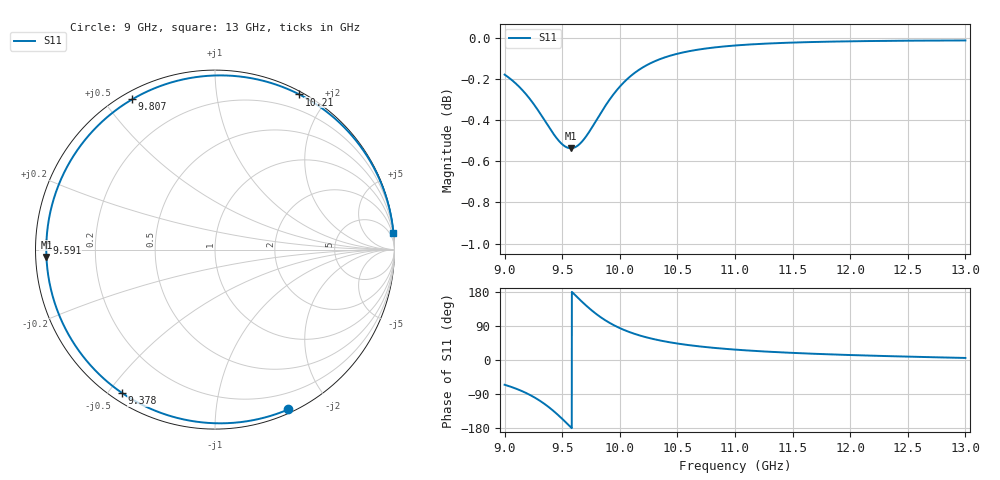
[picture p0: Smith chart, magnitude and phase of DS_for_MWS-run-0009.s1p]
! TOUCHSTONE file generated by CST DESIGN STUDIO
! Date and time: Wed Feb  5 13:33:29 2025
! Project name: C:\Work\MatlabApps\UnitCellOptimizationMatlab\CST\unitcell.cst
! Tree item: Tasks\Sweep1\SPara1\S-Parameters
! Header version: 2024
! Port assignment regex: !\s*Touchstone port\s*([0-9]+)\s*=\s*(CST MWS port|CST DES external port|CST DES block port)\s*(.+)\s* \(\"(.*)\"\)(\s*mode\s*([0-9]+))?.*
! Touchstone port assignment:
! Touchstone port 1 = CST DES external port 1 ("")
# GHz S MA R 50
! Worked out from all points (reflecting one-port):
!   4001 points, 9 GHz to 13 GHz, reference 50 ohm
!   lowest |S11| = -0.5 dB at 9.575 GHz (marker M1), VSWR 32.39, Z = 1.54 - j1.09 ohm
!   phase of S11 starts at -65 deg and turns -289 deg over the sweep
!   S11 on the Smith chart (normalised r, x): 9 GHz: 0.04, -1.56; 9.378 GHz: 0.03, -0.54; 9.591 GHz: 0.03, +0.02; 9.807 GHz: 0.03, +0.59; 10.21 GHz: 0.03, +1.68; 13 GHz: 0, +21
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9  0.9797 -65.3
9.045  0.9776 -69.7
9.113  0.9739 -77.3
9.229  0.9656 -93.6
9.308  0.9586 -107.9
9.378  0.952 -123.1
9.438  0.9465 -138.1
9.5  0.9422 -155.2
9.538  0.9406 -166.4
9.575  0.9401 -177.5
9.591  0.9402 177.7
9.646  0.942 161.2
9.707  0.9463 143.8
9.757  0.951 130.7
9.807  0.956 118.8
9.85  0.9603 109.6
9.895  0.9646 100.9
10  0.9731 84.2
10.1  0.9792 71.9
10.21  0.984 61.5
10.343  0.988 51.9
10.5  0.9912 43.5
10.721  0.9939 34.9
11  0.9958 27.4
11.5  0.9974 18.8
12  0.9981 13.1
12.5  0.9984 8.9
13  0.9986 5.4
